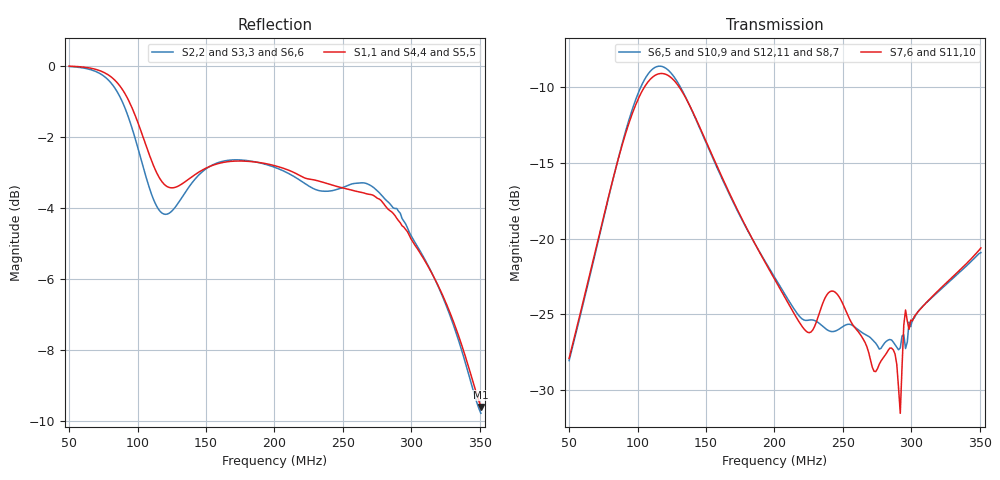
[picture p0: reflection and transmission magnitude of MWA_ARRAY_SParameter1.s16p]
! S-parameter export from FEKO
!  Filename:  MWA_ARRAY_SParameter1.s16p
!  Creation date: 2020-02-17 13:38:08
# Hz S MA R  1.00000E+02
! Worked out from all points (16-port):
!   236 points, 50 MHz to 350.8 MHz, reference 100 ohm
!   strongest paths, dB at 50 MHz, 125.5 MHz, 201 MHz, 276.6 MHz, 350.8 MHz:
!     S7,6: -27.9, -9.4, -22.8, -28.3, -20.6
!     S11,10: -27.9, -9.4, -22.8, -28.3, -20.6
!     S6,5: -28.0, -9.2, -22.7, -27.3, -20.9
!     S10,9: -28.0, -9.2, -22.7, -27.3, -20.9
!     S12,11: -28.0, -9.2, -22.7, -27.3, -20.9
!     S8,7: -28.0, -9.2, -22.7, -27.3, -20.9
!   lowest |S11| = -9.6 dB at 350.8 MHz (marker M1), VSWR 1.99, Z = 143 - j72 ohm
!   |S11| at or under -10 dB: nowhere
